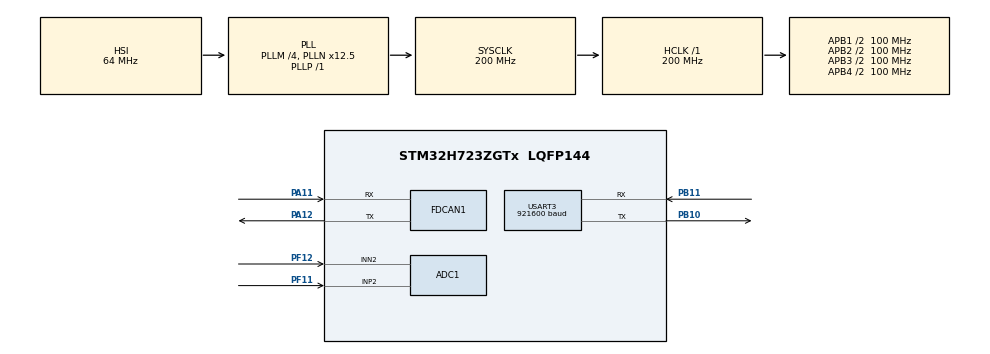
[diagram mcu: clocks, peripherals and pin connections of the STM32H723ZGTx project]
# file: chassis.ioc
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ADC1.Channel-10\#ChannelRegularConversion=ADC_CHANNEL_2
ADC1.Channel-11\#ChannelRegularConversion=ADC_CHANNEL_2
ADC1.Channel-4\#ChannelRegularConversion=ADC_CHANNEL_2
ADC1.Channel-5\#ChannelRegularConversion=ADC_CHANNEL_2
ADC1.Channel-6\#ChannelRegularConversion=ADC_CHANNEL_2
ADC1.Channel-7\#ChannelRegularConversion=ADC_CHANNEL_2
ADC1.Channel-8\#ChannelRegularConversion=ADC_CHANNEL_2
ADC1.Channel-9\#ChannelRegularConversion=ADC_CHANNEL_2
ADC1.NbrOfConversion=8
ADC1.NbrOfConversionFlag=1
ADC1.OffsetNumber-10\#ChannelRegularConversion=ADC_OFFSET_NONE
ADC1.OffsetNumber-11\#ChannelRegularConversion=ADC_OFFSET_NONE
ADC1.OffsetNumber-4\#ChannelRegularConversion=ADC_OFFSET_NONE
ADC1.OffsetNumber-5\#ChannelRegularConversion=ADC_OFFSET_NONE
ADC1.OffsetNumber-6\#ChannelRegularConversion=ADC_OFFSET_NONE
ADC1.OffsetNumber-7\#ChannelRegularConversion=ADC_OFFSET_NONE
ADC1.OffsetNumber-8\#ChannelRegularConversion=ADC_OFFSET_NONE
ADC1.OffsetNumber-9\#ChannelRegularConversion=ADC_OFFSET_NONE
ADC1.OffsetSignedSaturation-10\#ChannelRegularConversion=DISABLE
ADC1.OffsetSignedSaturation-11\#ChannelRegularConversion=DISABLE
ADC1.OffsetSignedSaturation-4\#ChannelRegularConversion=DISABLE
ADC1.OffsetSignedSaturation-5\#ChannelRegularConversion=DISABLE
ADC1.OffsetSignedSaturation-6\#ChannelRegularConversion=DISABLE
ADC1.OffsetSignedSaturation-7\#ChannelRegularConversion=DISABLE
ADC1.OffsetSignedSaturation-8\#ChannelRegularConversion=DISABLE
ADC1.OffsetSignedSaturation-9\#ChannelRegularConversion=DISABLE
ADC1.Rank-10\#ChannelRegularConversion=7
ADC1.Rank-11\#ChannelRegularConversion=8
ADC1.Rank-4\#ChannelRegularConversion=1
ADC1.Rank-5\#ChannelRegularConversion=2
ADC1.Rank-6\#ChannelRegularConversion=3
ADC1.Rank-7\#ChannelRegularConversion=4
ADC1.Rank-8\#ChannelRegularConversion=5
ADC1.Rank-9\#ChannelRegularConversion=6
ADC1.SamplingTime-10\#ChannelRegularConversion=ADC_SAMPLETIME_1CYCLE_5
ADC1.SamplingTime-11\#ChannelRegularConversion=ADC_SAMPLETIME_1CYCLE_5
ADC1.SamplingTime-4\#ChannelRegularConversion=ADC_SAMPLETIME_1CYCLE_5
ADC1.SamplingTime-5\#ChannelRegularConversion=ADC_SAMPLETIME_1CYCLE_5
ADC1.SamplingTime-6\#ChannelRegularConversion=ADC_SAMPLETIME_1CYCLE_5
ADC1.SamplingTime-7\#ChannelRegularConversion=ADC_SAMPLETIME_1CYCLE_5
ADC1.SamplingTime-8\#ChannelRegularConversion=ADC_SAMPLETIME_1CYCLE_5
ADC1.SamplingTime-9\#ChannelRegularConversion=ADC_SAMPLETIME_1CYCLE_5
ADC1.SingleDiff-10\#ChannelRegularConversion=ADC_DIFFERENTIAL_ENDED
ADC1.SingleDiff-11\#ChannelRegularConversion=ADC_DIFFERENTIAL_ENDED
ADC1.SingleDiff-4\#ChannelRegularConversion=ADC_DIFFERENTIAL_ENDED
ADC1.SingleDiff-5\#ChannelRegularConversion=ADC_DIFFERENTIAL_ENDED
ADC1.SingleDiff-6\#ChannelRegularConversion=ADC_DIFFERENTIAL_ENDED
ADC1.SingleDiff-7\#ChannelRegularConversion=ADC_DIFFERENTIAL_ENDED
ADC1.SingleDiff-8\#ChannelRegularConversion=ADC_DIFFERENTIAL_ENDED
ADC1.SingleDiff-9\#ChannelRegularConversion=ADC_DIFFERENTIAL_ENDED
ADC1.master=1
CORTEX_M7.default_mode_Activation=1
Dma.Request0=USART3_RX
Dma.Request1=USART3_TX
Dma.USART3_RX.0.Direction=DMA_PERIPH_TO_MEMORY
Dma.USART3_RX.0.EventEnable=DISABLE
Dma.USART3_RX.0.FIFOMode=DMA_FIFOMODE_DISABLE
Dma.USART3_RX.0.Instance=DMA1_Stream0
Dma.USART3_RX.0.MemDataAlignment=DMA_MDATAALIGN_BYTE
Dma.USART3_RX.0.MemInc=DMA_MINC_ENABLE
Dma.USART3_RX.0.Mode=DMA_CIRCULAR
Dma.USART3_RX.0.PeriphDataAlignment=DMA_PDATAALIGN_BYTE
Dma.USART3_RX.0.PeriphInc=DMA_PINC_DISABLE
Dma.USART3_RX.0.Polarity=HAL_DMAMUX_REQ_GEN_RISING
Dma.USART3_RX.0.Priority=DMA_PRIORITY_LOW
Dma.USART3_RX.0.RequestNumber=1
Dma.USART3_RX.0.SignalID=NONE
Dma.USART3_RX.0.SyncEnable=DISABLE
Dma.USART3_RX.0.SyncPolarity=HAL_DMAMUX_SYNC_NO_EVENT
Dma.USART3_RX.0.SyncRequestNumber=1
Dma.USART3_RX.0.SyncSignalID=NONE
Dma.USART3_TX.1.Direction=DMA_MEMORY_TO_PERIPH
Dma.USART3_TX.1.EventEnable=DISABLE
Dma.USART3_TX.1.FIFOMode=DMA_FIFOMODE_DISABLE
Dma.USART3_TX.1.Instance=DMA1_Stream1
Dma.USART3_TX.1.MemDataAlignment=DMA_MDATAALIGN_BYTE
Dma.USART3_TX.1.MemInc=DMA_MINC_ENABLE
Dma.USART3_TX.1.Mode=DMA_CIRCULAR
Dma.USART3_TX.1.PeriphDataAlignment=DMA_PDATAALIGN_BYTE
Dma.USART3_TX.1.PeriphInc=DMA_PINC_DISABLE
Dma.USART3_TX.1.Polarity=HAL_DMAMUX_REQ_GEN_RISING
Dma.USART3_TX.1.Priority=DMA_PRIORITY_LOW
Dma.USART3_TX.1.RequestNumber=1
Dma.USART3_TX.1.SignalID=NONE
Dma.USART3_TX.1.SyncEnable=DISABLE
Dma.USART3_TX.1.SyncPolarity=HAL_DMAMUX_SYNC_NO_EVENT
Dma.USART3_TX.1.SyncRequestNumber=1
Dma.USART3_TX.1.SyncSignalID=NONE
FDCAN1.CalculateBaudRateNominal=1000000
FDCAN1.CalculateTimeBitNominal=1000
FDCAN1.CalculateTimeQuantumNominal=50.0
FDCAN1.NominalPrescaler=5
FDCAN1.NominalTimeSeg1=14
FDCAN1.NominalTimeSeg2=5
FDCAN1.RxBuffersNbr=8
FDCAN1.RxFifo0ElmtsNbr=0
FDCAN1.StdFiltersNbr=8
FDCAN1.TxEventsNbr=8
Mcu.Family=STM32H7
Mcu.Name=STM32H723ZGTx
Mcu.Package=LQFP144
NVIC.DMA1_Stream0_IRQn=true\:0\:0\:false\:false\:true\:false\:true\:true
NVIC.DMA1_Stream1_IRQn=true\:0\:0\:false\:false\:true\:false\:true\:true
NVIC.PriorityGroup=NVIC_PRIORITYGROUP_4
NVIC.TIM2_IRQn=true\:0\:0\:false\:false\:true\:true\:true\:true
NVIC.USART3_IRQn=true\:0\:0\:false\:false\:true\:false\:true\:true
PA11.Mode=FDCAN_Activate
PA11.Signal=FDCAN1_RX
PA12.Mode=FDCAN_Activate
PA12.Signal=FDCAN1_TX
PA13(JTMS/SWDIO).Mode=Serial_Wire
PA13(JTMS/SWDIO).Signal=DEBUG_JTMS-SWDIO
PA14(JTCK/SWCLK).Mode=Serial_Wire
PA14(JTCK/SWCLK).Signal=DEBUG_JTCK-SWCLK
PB10.Mode=Asynchronous
PB10.Signal=USART3_TX
PB11.Mode=Asynchronous
PB11.Signal=USART3_RX
PC14-OSC32_IN.Mode=LSE-External-Oscillator
PC14-OSC32_IN.Signal=RCC_OSC32_IN
PC15-OSC32_OUT.Mode=LSE-External-Oscillator
PC15-OSC32_OUT.Signal=RCC_OSC32_OUT
PF11.Mode=IN2-Differential
PF11.Signal=ADC1_INP2
PF12.Mode=IN2-Differential
PF12.Signal=ADC1_INN2
PH0-OSC_IN.Mode=HSE-External-Oscillator
PH0-OSC_IN.Signal=RCC_OSC_IN
PH1-OSC_OUT.Mode=HSE-External-Oscillator
PH1-OSC_OUT.Signal=RCC_OSC_OUT
ProjectManager.HeapSize=0x200
ProjectManager.StackSize=0x400
ProjectManager.TargetToolchain=STM32CubeIDE
RCC.ADCFreq_Value=129000000
RCC.APB1Freq_Value=100000000
RCC.APB2Freq_Value=100000000
RCC.APB3Freq_Value=100000000
RCC.APB4Freq_Value=100000000
RCC.CortexFreq_Value=200000000
RCC.D1PPRE=RCC_APB3_DIV2
RCC.D2PPRE1=RCC_APB1_DIV2
RCC.D2PPRE2=RCC_APB2_DIV2
RCC.D3PPRE=RCC_APB4_DIV2
RCC.DIVM1=4
RCC.DIVN1=12
RCC.DIVP1=1
RCC.HCLKFreq_Value=200000000
RCC.PLL2FRACN=0
RCC.PLL3FRACN=0
RCC.PLLFRACN=4096
RCC.SYSCLKFreq_VALUE=200000000
RCC.SYSCLKSource=RCC_SYSCLKSOURCE_PLLCLK
RCC.USBFreq_Value=100000000
TIM2.AutoReloadPreload=TIM_AUTORELOAD_PRELOAD_ENABLE
TIM2.Period=1000-1
TIM2.Prescaler=200-1
USART3.BaudRate=921600
USART3.VirtualMode-Asynchronous=VM_ASYNC
VP_MEMORYMAP_VS_MEMORYMAP.Mode=CurAppReg
VP_TIM2_VS_ClockSourceINT.Mode=Internal
board=custom

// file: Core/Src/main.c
/* USER CODE BEGIN Header */
/**
  ******************************************************************************
  * @file           : main.c
  * @brief          : Main program body
  ******************************************************************************
  * @attention
  *
  * Copyright (c) 2026 STMicroelectronics.
  * All rights reserved.
  *
  * This software is licensed under terms that can be found in the LICENSE file
  * in the root directory of this software component.
  * If no LICENSE file comes with this software, it is provided AS-IS.
  *
  ******************************************************************************
  */
/* USER CODE END Header */
#include "main.h"
#include "adc.h"
#include "dma.h"
#include "fdcan.h"
#include "tim.h"
#include "usart.h"
#include "gpio.h"

/* USER CODE BEGIN Includes */
#include "chassis.h"
#include "gray_sensor.h"
#include "vision.h"
#include "robot_task.h"
#include "m3508_driver.h"
#include "suction.h"
#include "test.h"
#include "odometry.h"
/* USER CODE END Includes */

/* USER CODE BEGIN PV */
uint8_t uart3_rx_buf[256];   // UART3 DMA接收缓冲区
uint16_t uart3_rx_len = 0;   // 接收数据长度（由IDLE中断更新）
/* USER CODE END PV */

void SystemClock_Config(void);
static void MPU_Config(void);

/* USER CODE BEGIN 0 */
typedef enum {
    TEST_MODE_NONE,         // 正常比赛模式
    TEST_MODE_CHASSIS,      // 底盘测试
    TEST_MODE_ARM_SUCTION   // 机械臂/吸盘测试
} TestMode_t;

volatile TestMode_t test_mode = TEST_MODE_NONE;   // 默认正常模式
volatile uint8_t control_flag = 0;   // 由定时器中断置1
M3508_CAN_All m3508_can_1;
// 定时器中断回调（1kHz）
void HAL_TIM_PeriodElapsedCallback(TIM_HandleTypeDef *htim) {
    if (htim->Instance == TIM2) {
        control_flag = 1;
    }
}
/* USER CODE END 0 */

int main(void)
{

  /* MPU Configuration--------------------------------------------------------*/
  MPU_Config();

  /* MCU Configuration--------------------------------------------------------*/

  /* Reset of all peripherals, Initializes the Flash interface and the Systick. */
  HAL_Init();

  /* Configure the system clock */
  SystemClock_Config();

  /* Initialize all configured peripherals */
  MX_GPIO_Init();
  MX_DMA_Init();
  MX_USART3_UART_Init();
  MX_FDCAN1_Init();
  MX_TIM2_Init();
  MX_ADC1_Init();
  /* USER CODE BEGIN 2 */
  // 初始化M3508
  M3508_CAN_Init(&m3508_can_1, 0xFF, &hfdcan1);
  M3508_SpeedPID_Init(&m3508_can_1, 4, 2, 0.02, 0.001);
  HAL_FDCAN_Start(&hfdcan1);

  // 初始化底盘控制
  Chassis_Init();

  // 初始化其他模块
  Gray_Init();
  RobotTask_Init();
  Suction_Init();
  HAL_TIM_Base_Start_IT(&htim2);

  // 根据测试模式初始化
      if (test_mode == TEST_MODE_CHASSIS) {
          Chassis_Test_Init();
      } else if (test_mode == TEST_MODE_ARM_SUCTION) {
          Arm_Suction_Test_Init();
      } else {
          RobotTask_Init();
      }

  /* USER CODE END 2 */

  /* Infinite loop */
  /* USER CODE BEGIN WHILE */
  while (1)
  {
	  if (control_flag)
	  {
		  control_flag = 0;
	      Gray_Read();
	      Vision_Process();
	      Odometry_Update();

	      if (test_mode == TEST_MODE_CHASSIS)
	      {
	    	  	  Chassis_Test_Run();
	      }
	      else if (test_mode == TEST_MODE_ARM_SUCTION)
	      {
	    	  	  Arm_Suction_Test_Run();
	      }
	      else
	      {
	    	  	  RobotTask_Run();
	      }

	      M3508_PID_Update(&m3508_can_1);
	      M3508_CAN_CurrentUpdate(&m3508_can_1);
	   }
    /* USER CODE END WHILE */

  }
}

void SystemClock_Config(void)
{
  RCC_OscInitTypeDef RCC_OscInitStruct = {0};
  RCC_ClkInitTypeDef RCC_ClkInitStruct = {0};

  /** Supply configuration update enable
  */
  HAL_PWREx_ConfigSupply(PWR_LDO_SUPPLY);

  /** Configure the main internal regulator output voltage
  */
  __HAL_PWR_VOLTAGESCALING_CONFIG(PWR_REGULATOR_VOLTAGE_SCALE1);

  while(!__HAL_PWR_GET_FLAG(PWR_FLAG_VOSRDY)) {}

  /** Initializes the RCC Oscillators according to the specified parameters
  * in the RCC_OscInitTypeDef structure.
  */
  RCC_OscInitStruct.OscillatorType = RCC_OSCILLATORTYPE_HSI;
  RCC_OscInitStruct.HSIState = RCC_HSI_DIV1;
  RCC_OscInitStruct.HSICalibrationValue = 64;
  RCC_OscInitStruct.PLL.PLLState = RCC_PLL_ON;
  RCC_OscInitStruct.PLL.PLLSource = RCC_PLLSOURCE_HSI;
  RCC_OscInitStruct.PLL.PLLM = 4;
  RCC_OscInitStruct.PLL.PLLN = 12;
  RCC_OscInitStruct.PLL.PLLP = 1;
  RCC_OscInitStruct.PLL.PLLQ = 2;
  RCC_OscInitStruct.PLL.PLLR = 2;
  RCC_OscInitStruct.PLL.PLLRGE = RCC_PLL1VCIRANGE_3;
  RCC_OscInitStruct.PLL.PLLVCOSEL = RCC_PLL1VCOWIDE;
  RCC_OscInitStruct.PLL.PLLFRACN = 4096;
  if (HAL_RCC_OscConfig(&RCC_OscInitStruct) != HAL_OK)
  {
    Error_Handler();
  }

  /** Initializes the CPU, AHB and APB buses clocks
  */
  RCC_ClkInitStruct.ClockType = RCC_CLOCKTYPE_HCLK|RCC_CLOCKTYPE_SYSCLK
                              |RCC_CLOCKTYPE_PCLK1|RCC_CLOCKTYPE_PCLK2
                              |RCC_CLOCKTYPE_D3PCLK1|RCC_CLOCKTYPE_D1PCLK1;
  RCC_ClkInitStruct.SYSCLKSource = RCC_SYSCLKSOURCE_PLLCLK;
  RCC_ClkInitStruct.SYSCLKDivider = RCC_SYSCLK_DIV1;
  RCC_ClkInitStruct.AHBCLKDivider = RCC_HCLK_DIV1;
  RCC_ClkInitStruct.APB3CLKDivider = RCC_APB3_DIV2;
  RCC_ClkInitStruct.APB1CLKDivider = RCC_APB1_DIV2;
  RCC_ClkInitStruct.APB2CLKDivider = RCC_APB2_DIV2;
  RCC_ClkInitStruct.APB4CLKDivider = RCC_APB4_DIV2;

  if (HAL_RCC_ClockConfig(&RCC_ClkInitStruct, FLASH_LATENCY_2) != HAL_OK)
  {
    Error_Handler();
  }
}

 /* MPU Configuration */

void MPU_Config(void)
{
  MPU_Region_InitTypeDef MPU_InitStruct = {0};

  /* Disables the MPU */
  HAL_MPU_Disable();

  /** Initializes and configures the Region and the memory to be protected
  */
  MPU_InitStruct.Enable = MPU_REGION_ENABLE;
  MPU_InitStruct.Number = MPU_REGION_NUMBER0;
  MPU_InitStruct.BaseAddress = 0x0;
  MPU_InitStruct.Size = MPU_REGION_SIZE_4GB;
  MPU_InitStruct.SubRegionDisable = 0x87;
  MPU_InitStruct.TypeExtField = MPU_TEX_LEVEL0;
  MPU_InitStruct.AccessPermission = MPU_REGION_NO_ACCESS;
  MPU_InitStruct.DisableExec = MPU_INSTRUCTION_ACCESS_DISABLE;
  MPU_InitStruct.IsShareable = MPU_ACCESS_SHAREABLE;
  MPU_InitStruct.IsCacheable = MPU_ACCESS_NOT_CACHEABLE;
  MPU_InitStruct.IsBufferable = MPU_ACCESS_NOT_BUFFERABLE;

  HAL_MPU_ConfigRegion(&MPU_InitStruct);
  /* Enables the MPU */
  HAL_MPU_Enable(MPU_PRIVILEGED_DEFAULT);

}

void Error_Handler(void)
{
  __disable_irq();
  while (1)
  {
  }
}
